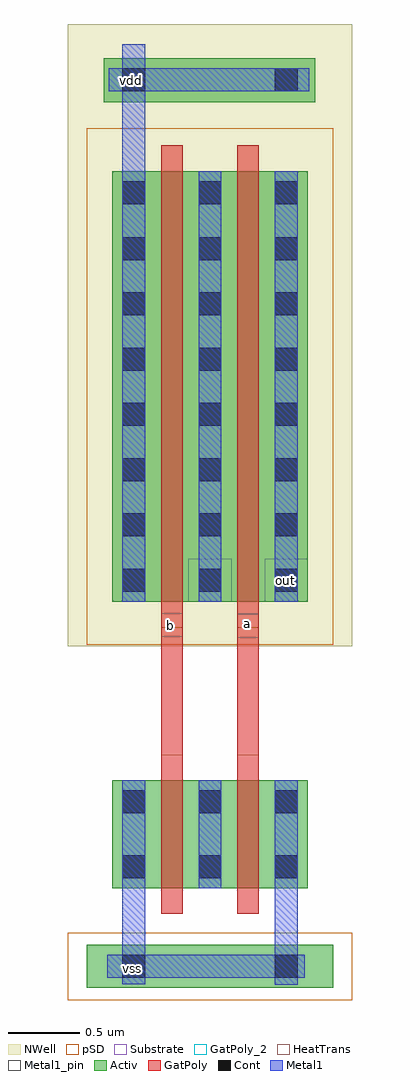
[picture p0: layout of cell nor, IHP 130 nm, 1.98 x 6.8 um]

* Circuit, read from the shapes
.subckt nor a b out vdd vss
XM1 n1 b vss vss sg13_lv_nmos w=0.75u l=0.15u
XM2 vss a n1 vss sg13_lv_nmos w=0.75u l=0.15u
XM3 n2 b vdd vdd sg13_lv_pmos w=3u l=0.15u
XM4 out a n2 vdd sg13_lv_pmos w=3u l=0.15u
.ends

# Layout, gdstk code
import gdstk
lib = gdstk.Library(unit=1e-6, precision=5e-09)
def R(c, l, rs):  # rectangles x0, y0, x1, y1
    for r in rs: c.add(gdstk.rectangle(r[:2], r[2:], *l))
def A(c, l, x, y, w, h, nx, ny, dx, dy):  # array of equal rectangles
    R(c, l, [(x+i*dx, y+j*dy, x+i*dx+w, y+j*dy+h) for i in range(nx) for j in range(ny)])
Activ = (1, 0)
GatPoly = (5, 0)
GatPoly_2 = (5, 2)
Cont = (6, 0)
Metal1 = (8, 0)
Metal1_pin = (8, 2)
pSD = (14, 0)
NWell = (31, 0)
Substrate = (40, 0)
HeatTrans = (51, 0)

nmos = lib.new_cell('nmos')
R(nmos, Activ, [(0,0,0.3,0.3), (0,0,0.83,0.75), (0.53,0,0.83,0.3)])
R(nmos, GatPoly, [(0.34,-0.18,0.49,0.93)])
R(nmos, GatPoly_2, [(0.34,-0.18,0.49,0.93)])
R(nmos, Cont, [(0.07,0.07,0.23,0.23), (0.6,0.07,0.76,0.23), (0.07,0.52,0.23,0.68), (0.6,0.52,0.76,0.68)])
R(nmos, Metal1, [(0.07,0,0.23,0.75), (0.6,0,0.76,0.75)])
R(nmos, Metal1_pin, [(0.07,0,0.23,0.75), (0.6,0,0.76,0.75)])
R(nmos, HeatTrans, [(0.34,-0.18,0.49,0.93)])
nmos.add(gdstk.Label('nmos', (0.415,0.375), layer=63, texttype=0))
nmos.add(gdstk.Label('nmos', (0.415,0.375), layer=51, texttype=0))

pmos_1 = lib.new_cell('pmos$1')
R(pmos_1, Activ, [(0,0,0.3,0.3), (0,0,0.83,3), (0.53,0,0.83,0.3)])
R(pmos_1, GatPoly, [(0.34,-0.18,0.49,3.18), (0.34,-0.18,0.49,3.18)])
A(pmos_1, Cont, 0.07, 0.07, 0.16, 0.16, 1, 7, 0, 0.385)
A(pmos_1, Cont, 0.6, 0.07, 0.16, 0.16, 1, 7, 0, 0.385)
R(pmos_1, Cont, [(0.07,2.77,0.23,2.93), (0.6,2.77,0.76,2.93)])
R(pmos_1, Metal1, [(0.07,0,0.23,3), (0.07,0,0.23,3), (0.6,0,0.76,3), (0.6,0,0.76,3)])
R(pmos_1, pSD, [(-0.18,-0.3,1.01,3.3)])
R(pmos_1, NWell, [(-0.31,-0.31,1.14,3.31)])
R(pmos_1, Substrate, [(0.53,0,0.83,0.3)])
R(pmos_1, HeatTrans, [(0.34,-0.18,0.49,3.18)])
pmos_1.add(gdstk.Label('pmos', (0.415,1.5), layer=63, texttype=0))
pmos_1.add(gdstk.Label('pmos', (0.415,1.5), layer=51, texttype=0))

nor = lib.new_cell('nor')
R(nor, Activ, [(-2.805,-2.245,-1.085,-1.945), (-2.685,3.925,-1.21,4.23)])
R(nor, GatPoly, [(-1.755,-0.625,-1.605,0.285), (-2.285,-0.62,-2.135,0.285)])
R(nor, GatPoly_2, [(-1.755,0.195,-1.605,0.36), (-2.285,0.2,-2.135,0.365)])
R(nor, Cont, [(-2.555,-2.175,-2.395,-2.015), (-1.495,-2.175,-1.335,-2.015), (-2.555,4,-2.395,4.16), (-1.495,4,-1.335,4.16)])
R(nor, Metal1, [(-1.495,-2.225,-1.335,-2.095), (-2.555,-2.22,-2.395,-2.1), (-2.66,-2.175,-2.555,-2.015), (-1.415,-2.175,-1.285,-2.015), (-2.555,3.215,-2.395,4.33), (-2.65,4,-1.255,4.16)])
R(nor, Metal1_pin, [(-2.555,-2.175,-2.395,-2.015), (-1.495,-2.175,-1.335,-2.015), (-1.495,0.515,-1.335,0.675), (-2.555,4,-2.395,4.16), (-1.495,4,-1.335,4.16)])
R(nor, pSD, [(-2.935,-2.33,-0.955,-1.86)])
R(nor, NWell, [(-2.935,3.755,-0.955,4.47)])
nor.add(gdstk.FlexPath([(-2.475,-1.4),(-2.475,-2.095),(-1.415,-2.095),(-1.415,-1.405),(-1.415,-1.405)], 0.16, ends="flush", simple_path=True, layer=8, datatype=0))  # Metal1
nor.add(gdstk.Reference(nmos, (-2.095,-1.55)))
nor.add(gdstk.Reference(nmos, (-2.625,-1.55)))
nor.add(gdstk.Reference(pmos_1, (-2.625,0.445)))
nor.add(gdstk.Reference(pmos_1, (-2.095,0.445)))
nor.add(gdstk.Label('out', (-1.42,0.59), layer=8, texttype=2))
nor.add(gdstk.Label('vdd', (-2.49,4.075), layer=8, texttype=2))
nor.add(gdstk.Label('vss', (-2.485,-2.11), layer=8, texttype=2))
nor.add(gdstk.Label('a', (-1.685,0.29), layer=5, texttype=2))
nor.add(gdstk.Label('b', (-2.22,0.28), layer=5, texttype=2))

lib.write_gds('nor.gds')
